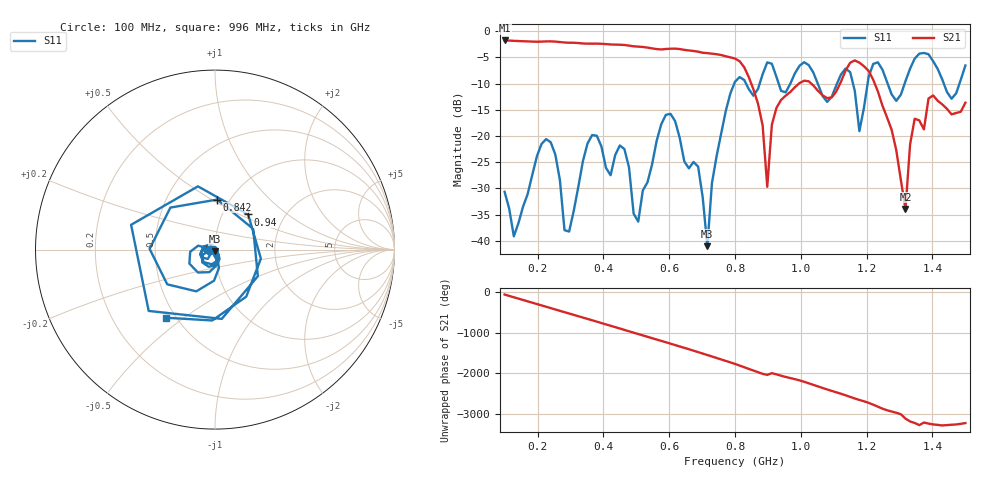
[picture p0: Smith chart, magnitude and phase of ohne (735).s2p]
! NanoVNA-App
! Date: 2025-09-25 14:26:31
! Start: 100MHz Stop: 1,5GHz Points: 101
! S-Parameter data: F S11 S21 S12 S22
# Hz S RI R 50
!  Frequency  S11_Real  S11_Imag  S21_Real  S21_Imag  S12_Real  S12_Imag  S22_Real  S22_Imag
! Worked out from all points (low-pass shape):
!   101 points, 100 MHz to 1.5 GHz, reference 50 ohm
!   highest |S21| = -1.79 dB at 100 MHz (marker M1); lowest = -33.9 dB at 1.318 GHz (marker M2)
!   |S21| within 3 dB of the highest: start of sweep to 771.2 MHz
!   lowest |S11| = -41.0 dB at 716 MHz (marker M3), VSWR 1.02, Z = 49.8 - j0.876 ohm
!   |S11| at or under -10 dB: start of sweep to 797.8 MHz; 833.3 MHz to 875.1 MHz (41.79 MHz wide, 4.89 % of centre); 1.051 GHz to 1.11 GHz (58.76 MHz wide, 5.44 % of centre) (the widest 3 of 7)
!   S12 and S22 are empty: the file has one direction only
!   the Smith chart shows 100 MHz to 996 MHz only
!   S11 on the Smith chart (normalised r, x): 100 MHz: 0.94, -0.01; 842 MHz: 0.88, +0.53; 940 MHz: 1.32, +0.56; 996 MHz: 0.44, -0.43
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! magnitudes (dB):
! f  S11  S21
! 100 MHz  -30.6  -1.8
! 128 MHz  -39.1  -1.9
! 226 MHz  -20.6  -2.0
! 296 MHz  -38.2  -2.2
! 338 MHz  -24.8  -2.4
! 464 MHz  -22.5  -2.7
! 506 MHz  -36.3  -3.0
! 576 MHz  -17.7  -3.5
! 688 MHz  -25.8  -3.9
! 716 MHz  -41.0  -4.2
! 800 MHz  -9.7  -5.2
! 842 MHz  -11.1  -8.8
! 898 MHz  -6.0  -29.7
! 940 MHz  -11.4  -13.1
! 996 MHz  -6.6  -9.9
! 1.038 GHz  -7.9  -10.4
! 1.178 GHz  -19.1  -6.0
! 1.22 GHz  -6.3  -9.3
! 1.276 GHz  -12.1  -18.8
! 1.318 GHz  -9.5  -33.9
! 1.346 GHz  -5.3  -16.7
! 1.5 GHz  -6.6  -13.7
